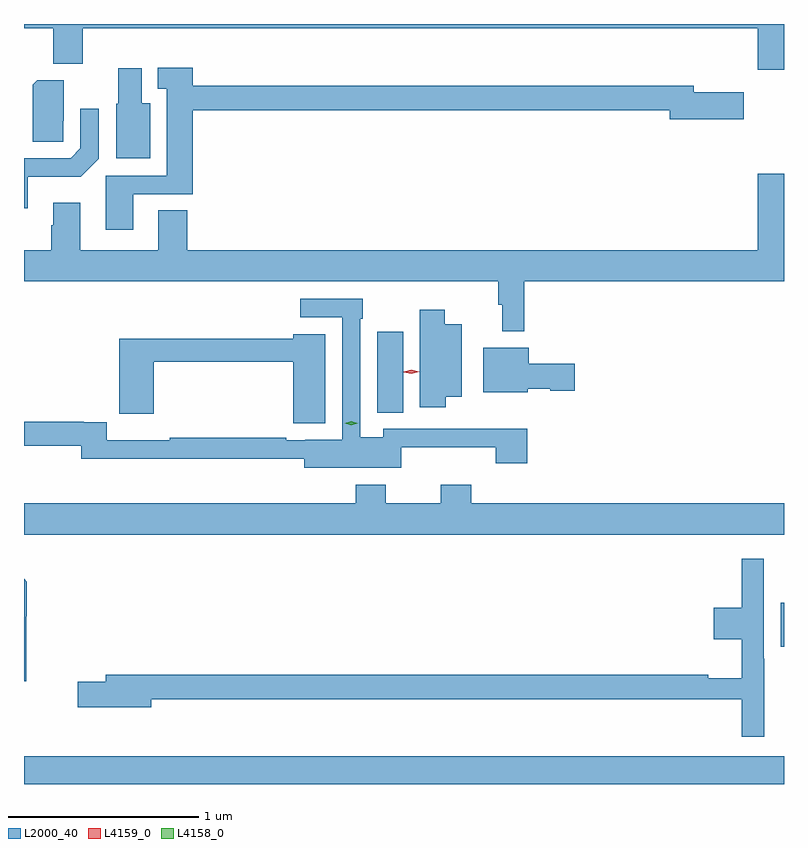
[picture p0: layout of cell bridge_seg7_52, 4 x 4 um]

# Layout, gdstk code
import gdstk
lib = gdstk.Library(unit=1e-6, precision=1e-09)
def R(c, l, rs):  # rectangles x0, y0, x1, y1
    for r in rs: c.add(gdstk.rectangle(r[:2], r[2:], *l))
def P(c, l, *ps):  # polygons
    for p in ps: c.add(gdstk.Polygon(p, *l))
L2000_40 = (2000, 40)
L4158_0 = (4158, 0)
L4159_0 = (4159, 0)

bridge_seg7_52 = lib.new_cell('bridge_seg7_52')
R(bridge_seg7_52, L2000_40, [(922.074,999.303,926.074,999.448), (926.058,1000.026,926.074,1000.257), (923.933,1001.257,924.07,1001.683)])
P(bridge_seg7_52, L2000_40, [(926.074,1003.303),(922.074,1003.303),(922.074,1003.28),(922.229,1003.28),(922.229,1003.093),(922.382,1003.093),(922.382,1003.28),(925.937,1003.28),(925.937,1003.062),(926.074,1003.062)],
  [(922.648,1002.408),(922.961,1002.408),(922.961,1002.85),(925.472,1002.85),(925.472,1002.803),(925.861,1002.803),(925.861,1002.945),(925.6,1002.945),(925.6,1002.979),(922.961,1002.979),(922.961,1003.073),(922.778,1003.073),(922.778,1002.963),(922.826,1002.963),(922.826,1002.504),(922.505,1002.504),(922.505,1002.219),(922.648,1002.219)],
  [(922.738,1002.886),(922.693,1002.886),(922.693,1003.069),(922.571,1003.069),(922.571,1002.882),(922.559,1002.882),(922.559,1002.596),(922.738,1002.596)],
  [(922.281,1002.793),(922.282,1002.793),(922.282,1003.008),(922.143,1003.008),(922.119,1002.984),(922.119,1002.682),(922.281,1002.682)],
  [(922.093,1002.5),(922.373,1002.5),(922.467,1002.594),(922.467,1002.856),(922.371,1002.856),(922.371,1002.648),(922.32,1002.597),(922.074,1002.597),(922.074,1002.333),(922.093,1002.333)],
  [(924.707,1001.948),(926.074,1001.948),(926.074,1002.514),(925.937,1002.514),(925.937,1002.112),(922.934,1002.112),(922.934,1002.323),(922.781,1002.323),(922.781,1002.112),(922.369,1002.112),(922.369,1002.361),(922.229,1002.361),(922.229,1002.245),(922.217,1002.245),(922.217,1002.112),(922.074,1002.112),(922.074,1001.948),(924.571,1001.948),(924.571,1001.825),(924.59,1001.825),(924.59,1001.685),(924.707,1001.685)],
  [(924.06,1001.075),(924.557,1001.075),(924.557,1000.992),(924.722,1000.992),(924.722,1001.174),(924.473,1001.174),(924.473,1001.172),(923.964,1001.172),(923.964,1001.128),(923.844,1001.128),(923.844,1001.753),(923.857,1001.753),(923.857,1001.856),(923.529,1001.856),(923.529,1001.76),(923.748,1001.76),(923.748,1001.116),(923.553,1001.116),(923.553,1001.112),(923.453,1001.112),(923.453,1001.125),(922.84,1001.125),(922.84,1001.113),(922.509,1001.113),(922.509,1001.207),(922.388,1001.207),(922.388,1001.21),(922.074,1001.21),(922.074,1001.082),(922.375,1001.082),(922.375,1001.014),(923.549,1001.014),(923.549,1000.967),(924.06,1000.967)],
  [(924.293,1001.342),(924.379,1001.342),(924.379,1001.722),(924.288,1001.722),(924.288,1001.8),(924.158,1001.8),(924.158,1001.286),(924.293,1001.286)],
  [(923.659,1001.671),(923.492,1001.671),(923.492,1001.647),(922.574,1001.647),(922.574,1001.365),(922.576,1001.365),(922.576,1001.253),(922.757,1001.253),(922.757,1001.526),(923.492,1001.526),(923.492,1001.201),(923.659,1001.201)],
  [(924.726,1001.384),(924.843,1001.384),(924.843,1001.372),(924.973,1001.372),(924.973,1001.514),(924.73,1001.514),(924.73,1001.599),(924.491,1001.599),(924.491,1001.366),(924.726,1001.366)],
  [(926.074,1000.78),(924.428,1000.78),(924.428,1000.879),(924.268,1000.879),(924.268,1000.78),(923.979,1000.78),(923.979,1000.879),(923.819,1000.879),(923.819,1000.78),(922.074,1000.78),(922.074,1000.616),(926.074,1000.616)],
  [(925.97,999.962),(925.968,999.962),(925.968,1000.489),(925.852,1000.489),(925.852,1000.23),(925.704,1000.23),(925.704,1000.064),(925.852,1000.064),(925.852,999.86),(925.675,999.86),(925.675,999.878),(922.505,999.878),(922.505,999.842),(922.356,999.842),(922.356,999.707),(922.744,999.707),(922.744,999.75),(925.852,999.75),(925.852,999.552),(925.97,999.552)],
  [(922.085,1000.186),(922.088,1000.186),(922.088,1000.368),(922.074,1000.382),(922.074,999.843),(922.085,999.843)])
P(bridge_seg7_52, L4158_0, [(923.797,1001.192),(923.762,1001.202),(923.762,1001.202),(923.762,1001.203),(923.797,1001.212),(923.831,1001.203),(923.831,1001.202),(923.831,1001.202)])
P(bridge_seg7_52, L4159_0, [(924.113,1001.462),(924.073,1001.471),(924.073,1001.471),(924.073,1001.472),(924.113,1001.482),(924.153,1001.473),(924.153,1001.473),(924.153,1001.473)])

lib.write_gds('bridge_seg7_52.gds')
